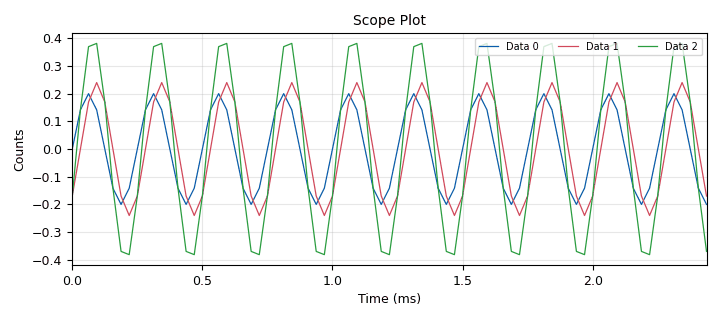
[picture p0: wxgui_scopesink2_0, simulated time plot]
<?xml version='1.0' encoding='utf-8'?>
<?grc format='1' created='3.7.7'?>
<flow_graph>
<block>
<key>options</key>
<param><key>id</key><value>top_block</value></param>
<param><key>generate_options</key><value>wx_gui</value></param>
<param><key>category</key><value>Custom</value></param>
</block>
<block>
<key>variable</key>
<param><key>id</key><value>samp_rate</value></param>
<param><key>value</key><value>8000</value></param>
</block>
<block>
<key>blocks_delay</key>
<param><key>id</key><value>blocks_delay_0</value></param>
<param><key>type</key><value>float</value></param>
<param><key>delay</key><value>delay</value></param>
</block>
<block>
<key>blocks_throttle</key>
<param><key>id</key><value>blocks_throttle_0</value></param>
<param><key>type</key><value>float</value></param>
<param><key>samples_per_second</key><value>samp_rate*4</value></param>
</block>
<block>
<key>blocks_multiply_const_vxx</key>
<param><key>id</key><value>blocks_multiply_const_vxx_0</value></param>
<param><key>type</key><value>float</value></param>
<param><key>const</key><value>1.2</value></param>
</block>
<block>
<key>wxgui_scopesink2</key>
<param><key>id</key><value>wxgui_scopesink2_0</value></param>
<param><key>type</key><value>float</value></param>
<param><key>title</key><value>Scope Plot</value></param>
<param><key>samp_rate</key><value>samp_rate*4</value></param>
<param><key>v_scale</key><value>0</value></param>
<param><key>v_offset</key><value>0</value></param>
<param><key>t_scale</key><value>0</value></param>
<param><key>ac_couple</key><value>False</value></param>
<param><key>xy_mode</key><value>False</value></param>
<param><key>num_inputs</key><value>3</value></param>
<param><key>trig_mode</key><value>wxgui.TRIG_MODE_AUTO</value></param>
<param><key>y_axis_label</key><value>Counts</value></param>
</block>
<block>
<key>blocks_add_xx</key>
<param><key>id</key><value>blocks_add_xx_0</value></param>
<param><key>type</key><value>float</value></param>
</block>
<block>
<key>variable_slider</key>
<param><key>id</key><value>delay</value></param>
<param><key>label</key><value>delay</value></param>
<param><key>value</key><value>1</value></param>
<param><key>min</key><value>0</value></param>
<param><key>max</key><value>100</value></param>
<param><key>num_steps</key><value>1000</value></param>
<param><key>style</key><value>wx.SL_HORIZONTAL</value></param>
<param><key>converver</key><value>int_converter</value></param>
</block>
<block>
<key>variable_slider</key>
<param><key>id</key><value>mult_const</value></param>
<param><key>label</key><value>mult_const</value></param>
<param><key>value</key><value>1</value></param>
<param><key>min</key><value>0</value></param>
<param><key>max</key><value>100</value></param>
<param><key>num_steps</key><value>1000</value></param>
<param><key>style</key><value>wx.SL_HORIZONTAL</value></param>
<param><key>converver</key><value>float_converter</value></param>
</block>
<block>
<key>analog_sig_source_x</key>
<param><key>id</key><value>analog_sig_source_x_0</value></param>
<param><key>type</key><value>float</value></param>
<param><key>samp_rate</key><value>samp_rate</value></param>
<param><key>waveform</key><value>analog.GR_COS_WAVE</value></param>
<param><key>freq</key><value>1000</value></param>
<param><key>amp</key><value>0.2</value></param>
<param><key>offset</key><value>0</value></param>
</block>
<connection><source_block_id>analog_sig_source_x_0</source_block_id><sink_block_id>blocks_throttle_0</sink_block_id><source_key>0</source_key><sink_key>0</sink_key></connection>
<connection><source_block_id>blocks_throttle_0</source_block_id><sink_block_id>wxgui_scopesink2_0</sink_block_id><source_key>0</source_key><sink_key>0</sink_key></connection>
<connection><source_block_id>blocks_throttle_0</source_block_id><sink_block_id>blocks_delay_0</sink_block_id><source_key>0</source_key><sink_key>0</sink_key></connection>
<connection><source_block_id>blocks_delay_0</source_block_id><sink_block_id>blocks_multiply_const_vxx_0</sink_block_id><source_key>0</source_key><sink_key>0</sink_key></connection>
<connection><source_block_id>blocks_multiply_const_vxx_0</source_block_id><sink_block_id>wxgui_scopesink2_0</sink_block_id><source_key>0</source_key><sink_key>1</sink_key></connection>
<connection><source_block_id>blocks_throttle_0</source_block_id><sink_block_id>blocks_add_xx_0</sink_block_id><source_key>0</source_key><sink_key>0</sink_key></connection>
<connection><source_block_id>blocks_multiply_const_vxx_0</source_block_id><sink_block_id>blocks_add_xx_0</sink_block_id><source_key>0</source_key><sink_key>1</sink_key></connection>
<connection><source_block_id>blocks_add_xx_0</source_block_id><sink_block_id>wxgui_scopesink2_0</sink_block_id><source_key>0</source_key><sink_key>2</sink_key></connection>
</flow_graph>
